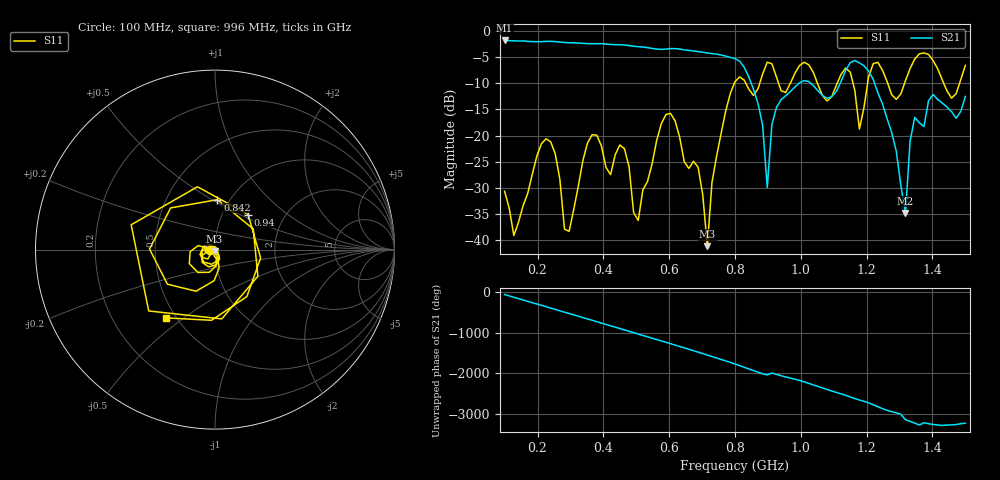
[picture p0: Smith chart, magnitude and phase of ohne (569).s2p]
! NanoVNA-App
! Date: 2025-09-25 14:25:14
! Start: 100MHz Stop: 1,5GHz Points: 101
! S-Parameter data: F S11 S21 S12 S22
# Hz S RI R 50
!  Frequency  S11_Real  S11_Imag  S21_Real  S21_Imag  S12_Real  S12_Imag  S22_Real  S22_Imag
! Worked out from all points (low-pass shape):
!   101 points, 100 MHz to 1.5 GHz, reference 50 ohm
!   highest |S21| = -1.79 dB at 100 MHz (marker M1); lowest = -34.8 dB at 1.318 GHz (marker M2)
!   |S21| within 3 dB of the highest: start of sweep to 772.1 MHz
!   lowest |S11| = -41.1 dB at 716 MHz (marker M3), VSWR 1.02, Z = 49.8 - j0.845 ohm
!   |S11| at or under -10 dB: start of sweep to 798 MHz; 833 MHz to 875.1 MHz (42.11 MHz wide, 4.93 % of centre); 1.051 GHz to 1.111 GHz (59.97 MHz wide, 5.55 % of centre) (the widest 3 of 7)
!   S12 and S22 are empty: the file has one direction only
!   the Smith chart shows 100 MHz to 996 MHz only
!   S11 on the Smith chart (normalised r, x): 100 MHz: 0.94, -0.01; 842 MHz: 0.88, +0.53; 940 MHz: 1.32, +0.56; 996 MHz: 0.44, -0.43
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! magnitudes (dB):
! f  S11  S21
! 100 MHz  -30.6  -1.8
! 128 MHz  -39.1  -1.9
! 226 MHz  -20.6  -2.0
! 296 MHz  -38.3  -2.2
! 338 MHz  -24.7  -2.3
! 464 MHz  -22.5  -2.7
! 506 MHz  -36.2  -3.0
! 576 MHz  -17.7  -3.5
! 688 MHz  -26.1  -3.9
! 716 MHz  -41.1  -4.2
! 800 MHz  -9.7  -5.3
! 842 MHz  -11.1  -8.8
! 898 MHz  -6.0  -30.0
! 940 MHz  -11.4  -13.1
! 996 MHz  -6.6  -9.9
! 1.038 GHz  -7.9  -10.4
! 1.178 GHz  -18.8  -6.1
! 1.22 GHz  -6.2  -9.2
! 1.276 GHz  -12.2  -19.4
! 1.318 GHz  -9.5  -34.8
! 1.346 GHz  -5.4  -16.5
! 1.5 GHz  -6.6  -12.5
